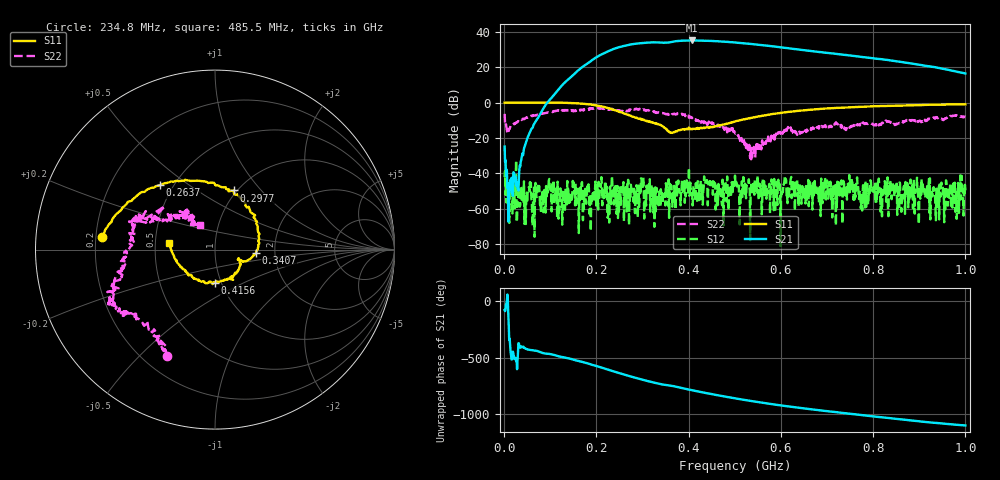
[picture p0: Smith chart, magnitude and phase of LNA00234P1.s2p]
! Created with skrf 1.9.0 (http://scikit-rf.org).
# Hz S RI R 50.0
!freq ReS11 ImS11 ReS21 ImS21 ReS12 ImS12 ReS22 ImS22
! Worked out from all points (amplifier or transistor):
!   1001 points, 1 MHz to 1 GHz, reference 50 ohm
!   highest |S21| = 35.0 dB at 406.6 MHz (marker M1)
!   |S21| within 3 dB of that: 262.2 MHz to 571.7 MHz (309.5 MHz wide, 74.2 % of centre)
!   unconditionally stable (mu >= 1): start of sweep to 90.82 MHz; 301.9 MHz to 400.3 MHz; 400.8 MHz to end of sweep (the widest 3 of 32)
!   at 166.8 MHz: K = 1.15, MAG = 32.6 dB, |S12| = -50.4 dB
!   at 500.5 MHz: K = 1.28, MAG = 34.4 dB, |S12| = -41.3 dB
!   at 1 GHz: K = 3.90, MAG = 24.1 dB, |S12| = -49.6 dB
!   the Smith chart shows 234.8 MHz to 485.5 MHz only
!   S11 on the Smith chart (normalised r, x): 234.8 MHz: 0.22, +0.05; 263.7 MHz: 0.42, +0.39; 297.7 MHz: 0.97, +0.72; 340.7 MHz: 1.59, -0.07; 415.6 MHz: 0.94, -0.36; 485.5 MHz: 0.59, +0.05
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1000000  0.9899 0.0114  0.0107 -0.0561  -0.00624 0.00466  0.3543 0.3222
1.08892e8  0.5054 -0.855  -0.7698 -1.497  -5.22e-05 0.00166  0.437 -0.3531
1.67833e8  -0.2658 -0.8911  -9.661 -0.6688  0.00519 0.000217  0.0562 -0.6306
2.06794e8  -0.6815 -0.4091  -15.81 14.35  -0.00139 -0.00273  -0.1371 -0.6625
2.34766e8  -0.6321 0.0675  -6.549 30.88  0.00272 -0.00377  -0.265 -0.5937
2.63737e8  -0.3065 0.3591  16.37 36.96  -0.00256 -0.00402  -0.4488 -0.3742
2.97703e8  0.1034 0.3296  42.16 21.64  -0.0014 0.00701  -0.5865 -0.2656
3.17683e8  0.2227 0.1727  49.1 5.647  -0.00056 0.00257  -0.5283 -0.168
3.34666e8  0.2411 0.0263  48.91 -8.35  -0.000622 -0.0011  -0.5119 -0.0594
3.4066e8  0.2269 -0.0196  47.59 -12.57  -0.00233 0.00124  -0.5032 -0.0414
3.74626e8  0.1373 -0.0701  42.27 -33.69  0.00234 -0.000332  -0.4372 0.1643
4.06594e8  0.0536 -0.168  21.92 -52.01  -0.00247 0.00116  -0.3385 0.1761
4.15585e8  0.0017 -0.1852  14.83 -54.16  0.00279 0.0045  -0.2513 0.1732
4.46554e8  -0.1464 -0.1443  -9.131 -54.1  -0.00118 0.00414  -0.1627 0.1728
4.85515e8  -0.2555 0.0381  -32.01 -39.92  0.0041 0.00149  -0.0844 0.1386
5.005e8  -0.2603 0.1253  -37.73 -32.2  0.00596 -0.00624  -0.1051 0.0877
5.4046e8  -0.1896 0.3272  -42.87 -10.53  0.00497 -0.00098  -0.0314 0.0394
5.88412e8  0.0139 0.4848  -36.29 10.29  -0.000325 -0.00263  -0.1033 -0.069
6.67333e8  0.3923 0.4953  -15.14 23.6  0.0023 0.000219  -0.1793 -0.0285
7.55245e8  0.6869 0.2771  2.984 20.56  0.000899 -0.00611  -0.2125 0.0115
8.34166e8  0.8021 0.0232  10.81 11.32  -0.00321 -0.00381  -0.2804 -0.0575
1e9  0.729 -0.5152  6.235 -2.182  -0.00187 -0.00273  -0.3824 0.1053
